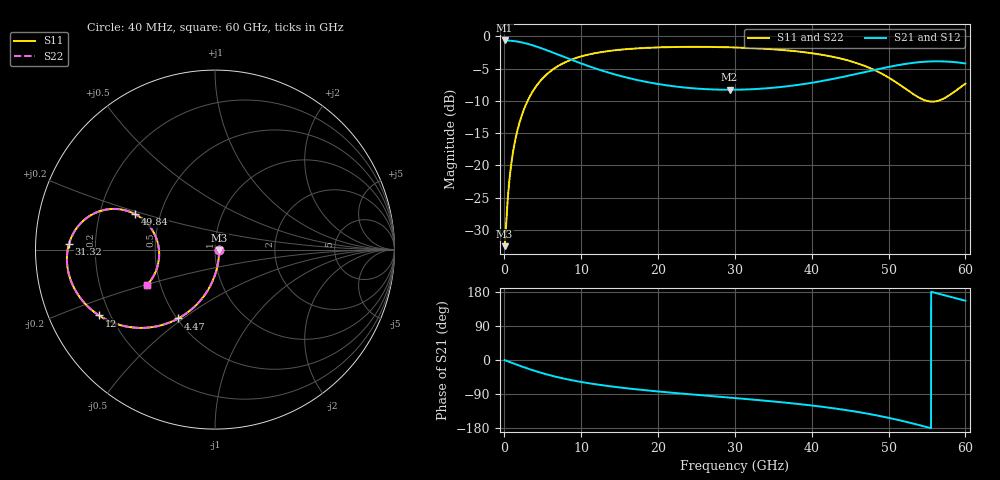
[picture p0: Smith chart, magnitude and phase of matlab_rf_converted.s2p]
# GHz S MA R 50
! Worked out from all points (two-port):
!   5997 points, 40 MHz to 60 GHz, reference 50 ohm
!   highest |S21| = -0.65 dB at 40 MHz (marker M1); lowest = -8.3 dB at 29.32 GHz (marker M2)
!   |S21| within 3 dB of the highest: start of sweep to 8.739 GHz
!   lowest |S11| = -32.5 dB at 40 MHz (marker M3), VSWR 1.05, Z = 52.4 - j0.478 ohm
!   |S11| at or under -10 dB: start of sweep to 3.037 GHz; 54.95 GHz to 56.45 GHz (1.506 GHz wide, 2.7 % of centre)
!   |S22| runs from -32.5 to -1.6 dB; largest |S21 - S12| = 8.5e-16
!   S11 on the Smith chart (normalised r, x): 40 MHz: 1.05, -0.01; 4.47 GHz: 0.51, -0.48; 12 GHz: 0.16, -0.26; 31.32 GHz: 0.10, +0.02; 49.84 GHz: 0.36, +0.19; 60 GHz: 0.42, -0.20
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0.04  0.02364 -11.1  0.928 -0.3  0.928 -0.3  0.02364 -11.1
0.78  0.08914 -80.8  0.9241 -6.0  0.9241 -6.0  0.08914 -80.8
1.12  0.1252 -87.7  0.92 -8.6  0.92 -8.6  0.1252 -87.7
1.53  0.1683 -93.5  0.9131 -11.7  0.9131 -11.7  0.1683 -93.5
2.76  0.2906 -105.6  0.8823 -20.6  0.8823 -20.6  0.2906 -105.6
4.47  0.4348 -118.1  0.8217 -31.9  0.8217 -31.9  0.4348 -118.1
6.87  0.5817 -131.5  0.7261 -45.0  0.7261 -45.0  0.5817 -131.5
10.04  0.6989 -144.4  0.6144 -58.1  0.6144 -58.1  0.6989 -144.4
12  0.7431 -150.4  0.5593 -64.4  0.5593 -64.4  0.7431 -150.4
15.63  0.7923 -159.1  0.4836 -73.9  0.4836 -73.9  0.7923 -159.1
20.03  0.8198 -167.1  0.4264 -83.1  0.4264 -83.1  0.8198 -167.1
29.32  0.8212 -179.8  0.3851 -99.2  0.3851 -99.2  0.8212 -179.8
30.02  0.8189 179.3  0.3853 -100.4  0.3853 -100.4  0.8189 179.3
31.32  0.8138 177.7  0.3868 -102.7  0.3868 -102.7  0.8138 177.7
40.02  0.7392 166.4  0.4361 -120.1  0.4361 -120.1  0.7392 166.4
45.68  0.6248 158.8  0.5082 -136.0  0.5082 -136.0  0.6248 158.8
49.84  0.4854 156.1  0.5758 -151.9  0.5758 -151.9  0.4854 156.1
50.01  0.4788 156.2  0.5785 -152.6  0.5785 -152.6  0.4788 156.2
53.08  0.3611 163.4  0.6212 -167.1  0.6212 -167.1  0.3611 163.4
55.48  0.312 -179.4  0.6385 -179.7  0.6385 -179.7  0.312 -179.4
57.17  0.3289 -165.2  0.6384 171.2  0.6384 171.2  0.3289 -165.2
60  0.4293 -152.4  0.6161 156.5  0.6161 156.5  0.4293 -152.4
